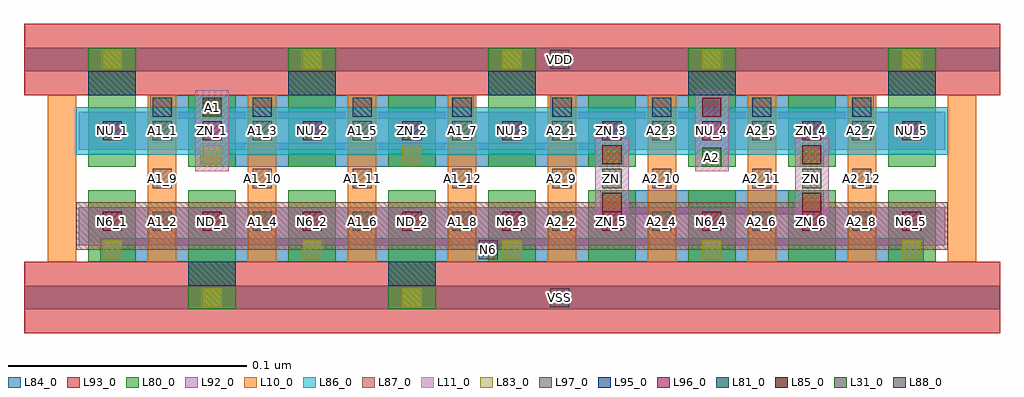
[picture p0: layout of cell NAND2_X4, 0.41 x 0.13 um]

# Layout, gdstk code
import gdstk
lib = gdstk.Library(unit=1e-6, precision=1e-09)
def R(c, l, rs):  # rectangles x0, y0, x1, y1
    for r in rs: c.add(gdstk.rectangle(r[:2], r[2:], *l))
def A(c, l, x, y, w, h, nx, ny, dx, dy):  # array of equal rectangles
    R(c, l, [(x+i*dx, y+j*dy, x+i*dx+w, y+j*dy+h) for i in range(nx) for j in range(ny)])
L10_0 = (10, 0)
L11_0 = (11, 0)
L31_0 = (31, 0)
L80_0 = (80, 0)
L81_0 = (81, 0)
L83_0 = (83, 0)
L84_0 = (84, 0)
L85_0 = (85, 0)
L86_0 = (86, 0)
L87_0 = (87, 0)
L88_0 = (88, 0)
L92_0 = (92, 0)
L93_0 = (93, 0)
L95_0 = (95, 0)
L96_0 = (96, 0)
L97_0 = (97, 0)

nand2_x4 = lib.new_cell('NAND2_X4')
A(nand2_x4, L10_0, -0.027, 0.015, 0.012, 0.07, 10, 1, 0.042, 0)
R(nand2_x4, L11_0, [(0.203,0.033,0.217,0.067), (0.203,0.033,0.217,0.067), (0.287,0.033,0.301,0.067), (0.287,0.033,0.301,0.067), (0.035,0.053,0.049,0.087), (0.245,0.053,0.259,0.087)])
R(nand2_x4, L31_0, [(0.206,0.046,0.214,0.054), (0.29,0.046,0.298,0.054), (0.248,0.055,0.256,0.063), (0.038,0.076,0.046,0.084)])
A(nand2_x4, L80_0, -0.01, 0.015, 0.02, 0.03, 9, 2, 0.042, 0.04)
A(nand2_x4, L80_0, -0.01, 0.075, 0.02, 0.03, 5, 1, 0.084, 0)
R(nand2_x4, L80_0, [(0.032,-0.005,0.052,0.025), (0.116,-0.005,0.136,0.025)])
R(nand2_x4, L81_0, [(0.017,0.076,0.025,0.084), (0.017,0.076,0.025,0.084), (0.059,0.076,0.067,0.084), (0.059,0.076,0.067,0.084), (0.101,0.076,0.109,0.084), (0.101,0.076,0.109,0.084), (0.143,0.076,0.151,0.084), (0.143,0.076,0.151,0.084), (0.185,0.076,0.193,0.084), (0.185,0.076,0.193,0.084), (0.227,0.076,0.235,0.084), (0.227,0.076,0.235,0.084), (0.269,0.076,0.277,0.084), (0.269,0.076,0.277,0.084), (0.311,0.076,0.319,0.084), (0.311,0.076,0.319,0.084)])
A(nand2_x4, L83_0, -0.004, 0.096, 0.008, 0.008, 5, 1, 0.084, 0)
R(nand2_x4, L83_0, [(0.038,-0.004,0.046,0.004), (0.122,-0.004,0.13,0.004), (-0.004,0.016,0.004,0.024), (-0.004,0.016,0.004,0.024), (0.08,0.016,0.088,0.024), (0.08,0.016,0.088,0.024), (0.164,0.016,0.172,0.024), (0.164,0.016,0.172,0.024), (0.248,0.016,0.256,0.024), (0.248,0.016,0.256,0.024), (0.332,0.016,0.34,0.024), (0.332,0.016,0.34,0.024), (0.206,0.036,0.214,0.044), (0.206,0.036,0.214,0.044), (0.29,0.036,0.298,0.044), (0.29,0.036,0.298,0.044), (0.038,0.056,0.046,0.064), (0.038,0.056,0.046,0.064), (0.122,0.056,0.13,0.064), (0.122,0.056,0.13,0.064), (0.206,0.056,0.214,0.064), (0.206,0.056,0.214,0.064), (0.29,0.056,0.298,0.064), (0.29,0.056,0.298,0.064)])
R(nand2_x4, L84_0, [(-0.037,-0.005,0.373,0.005), (-0.005,0.015,0.026,0.025), (-0.005,0.015,0.026,0.025), (0.016,0.015,0.047,0.025), (0.016,0.015,0.047,0.025), (0.037,0.015,0.068,0.025), (0.037,0.015,0.068,0.025), (0.058,0.015,0.089,0.025), (0.058,0.015,0.089,0.025), (0.079,0.015,0.11,0.025), (0.079,0.015,0.11,0.025), (0.1,0.015,0.131,0.025), (0.1,0.015,0.131,0.025), (0.121,0.015,0.152,0.025), (0.121,0.015,0.152,0.025), (0.142,0.015,0.173,0.025), (0.142,0.015,0.173,0.025), (0.163,0.015,0.194,0.025), (0.163,0.015,0.194,0.025), (0.184,0.015,0.215,0.025), (0.184,0.015,0.215,0.025), (0.205,0.015,0.236,0.025), (0.205,0.015,0.236,0.025), (0.226,0.015,0.257,0.025), (0.226,0.015,0.257,0.025), (0.247,0.015,0.278,0.025), (0.247,0.015,0.278,0.025), (0.268,0.015,0.299,0.025), (0.268,0.015,0.299,0.025), (0.289,0.015,0.32,0.025), (0.289,0.015,0.32,0.025), (0.31,0.015,0.341,0.025), (0.31,0.015,0.341,0.025), (0.205,0.035,0.236,0.045), (0.205,0.035,0.236,0.045), (0.226,0.035,0.257,0.045), (0.226,0.035,0.257,0.045), (0.247,0.035,0.278,0.045), (0.247,0.035,0.278,0.045), (0.268,0.035,0.299,0.045), (0.268,0.035,0.299,0.045), (0.037,0.055,0.068,0.065), (0.037,0.055,0.068,0.065), (0.058,0.055,0.089,0.065), (0.058,0.055,0.089,0.065), (0.079,0.055,0.11,0.065), (0.079,0.055,0.11,0.065), (0.1,0.055,0.131,0.065), (0.1,0.055,0.131,0.065), (0.121,0.055,0.152,0.065), (0.121,0.055,0.152,0.065), (0.142,0.055,0.173,0.065), (0.142,0.055,0.173,0.065), (0.163,0.055,0.194,0.065), (0.163,0.055,0.194,0.065), (0.184,0.055,0.215,0.065), (0.184,0.055,0.215,0.065), (0.289,0.055,0.299,0.065), (0.289,0.055,0.299,0.065), (0.016,0.075,0.047,0.085), (0.016,0.075,0.047,0.085), (0.037,0.075,0.068,0.085), (0.037,0.075,0.068,0.085), (0.058,0.075,0.089,0.085), (0.058,0.075,0.089,0.085), (0.079,0.075,0.11,0.085), (0.079,0.075,0.11,0.085), (0.1,0.075,0.131,0.085), (0.1,0.075,0.131,0.085), (0.121,0.075,0.152,0.085), (0.121,0.075,0.152,0.085), (0.184,0.075,0.215,0.085), (0.184,0.075,0.215,0.085), (0.205,0.075,0.236,0.085), (0.205,0.075,0.236,0.085), (0.226,0.075,0.257,0.085), (0.226,0.075,0.257,0.085), (0.247,0.075,0.278,0.085), (0.247,0.075,0.278,0.085), (0.268,0.075,0.299,0.085), (0.268,0.075,0.299,0.085), (0.289,0.075,0.32,0.085), (0.289,0.075,0.32,0.085), (-0.037,0.095,0.373,0.105)])
R(nand2_x4, L85_0, [(0.206,0.036,0.214,0.044), (0.206,0.036,0.214,0.044), (0.29,0.036,0.298,0.044), (0.29,0.036,0.298,0.044), (0.206,0.056,0.214,0.064), (0.206,0.056,0.214,0.064), (0.29,0.056,0.298,0.064), (0.29,0.056,0.298,0.064), (0.038,0.076,0.046,0.084), (0.248,0.076,0.256,0.084)])
R(nand2_x4, L86_0, [(-0.015,0.06,0.351,0.08)])
R(nand2_x4, L87_0, [(-0.015,0.02,0.351,0.04)])
R(nand2_x4, L88_0, [(0.184,-0.004,0.192,0.004), (0.154,0.016,0.162,0.024), (0.184,0.096,0.192,0.104)])
R(nand2_x4, L92_0, [(-0.014,0.022,0.35,0.038), (-0.014,0.062,0.35,0.078)])
R(nand2_x4, L93_0, [(-0.037,-0.015,0.373,0.015), (-0.037,0.085,0.373,0.115)])
A(nand2_x4, L95_0, -0.01, 0.085, 0.02, 0.01, 5, 1, 0.084, 0)
R(nand2_x4, L95_0, [(0.032,0.005,0.052,0.015), (0.116,0.005,0.136,0.015)])
A(nand2_x4, L96_0, -0.004, 0.028, 0.008, 0.008, 9, 2, 0.042, 0.038)
A(nand2_x4, L97_0, 0.017, 0.028, 0.008, 0.008, 8, 2, 0.042, 0.018)
A(nand2_x4, L97_0, 0.017, 0.066, 0.008, 0.008, 8, 1, 0.042, 0)
nand2_x4.add(gdstk.Label('A1_2', (0.021,0.032), layer=97, texttype=0))
nand2_x4.add(gdstk.Label('A1_9', (0.021,0.05), layer=97, texttype=0))
nand2_x4.add(gdstk.Label('A1_1', (0.021,0.07), layer=97, texttype=0))
nand2_x4.add(gdstk.Label('A1_4', (0.063,0.032), layer=97, texttype=0))
nand2_x4.add(gdstk.Label('A1_10', (0.063,0.05), layer=97, texttype=0))
nand2_x4.add(gdstk.Label('A1_3', (0.063,0.07), layer=97, texttype=0))
nand2_x4.add(gdstk.Label('A1_5', (0.105,0.07), layer=97, texttype=0))
nand2_x4.add(gdstk.Label('A1_11', (0.105,0.05), layer=97, texttype=0))
nand2_x4.add(gdstk.Label('A1_6', (0.105,0.032), layer=97, texttype=0))
nand2_x4.add(gdstk.Label('A1_7', (0.147,0.07), layer=97, texttype=0))
nand2_x4.add(gdstk.Label('A1_12', (0.147,0.05), layer=97, texttype=0))
nand2_x4.add(gdstk.Label('A1_8', (0.147,0.032), layer=97, texttype=0))
nand2_x4.add(gdstk.Label('A2_8', (0.315,0.032), layer=97, texttype=0))
nand2_x4.add(gdstk.Label('A2_12', (0.315,0.05), layer=97, texttype=0))
nand2_x4.add(gdstk.Label('A2_7', (0.315,0.07), layer=97, texttype=0))
nand2_x4.add(gdstk.Label('A2_6', (0.273,0.032), layer=97, texttype=0))
nand2_x4.add(gdstk.Label('A2_11', (0.273,0.05), layer=97, texttype=0))
nand2_x4.add(gdstk.Label('A2_5', (0.273,0.07), layer=97, texttype=0))
nand2_x4.add(gdstk.Label('A2_3', (0.231,0.07), layer=97, texttype=0))
nand2_x4.add(gdstk.Label('A2_10', (0.231,0.05), layer=97, texttype=0))
nand2_x4.add(gdstk.Label('A2_4', (0.231,0.032), layer=97, texttype=0))
nand2_x4.add(gdstk.Label('A2_2', (0.189,0.032), layer=97, texttype=0))
nand2_x4.add(gdstk.Label('A2_9', (0.189,0.05), layer=97, texttype=0))
nand2_x4.add(gdstk.Label('A2_1', (0.189,0.07), layer=97, texttype=0))
nand2_x4.add(gdstk.Label('ZN_1', (0.042,0.07), layer=96, texttype=0))
nand2_x4.add(gdstk.Label('ND_1', (0.042,0.032), layer=96, texttype=0))
nand2_x4.add(gdstk.Label('N6_1', (0,0.032), layer=96, texttype=0))
nand2_x4.add(gdstk.Label('NU_1', (0,0.07), layer=96, texttype=0))
nand2_x4.add(gdstk.Label('ZN_2', (0.126,0.07), layer=96, texttype=0))
nand2_x4.add(gdstk.Label('ND_2', (0.126,0.032), layer=96, texttype=0))
nand2_x4.add(gdstk.Label('N6_2', (0.084,0.032), layer=96, texttype=0))
nand2_x4.add(gdstk.Label('NU_2', (0.084,0.07), layer=96, texttype=0))
nand2_x4.add(gdstk.Label('NU_3', (0.168,0.07), layer=96, texttype=0))
nand2_x4.add(gdstk.Label('N6_3', (0.168,0.032), layer=96, texttype=0))
nand2_x4.add(gdstk.Label('ZN_5', (0.21,0.032), layer=96, texttype=0))
nand2_x4.add(gdstk.Label('ZN_3', (0.21,0.07), layer=96, texttype=0))
nand2_x4.add(gdstk.Label('ZN_6', (0.294,0.032), layer=96, texttype=0))
nand2_x4.add(gdstk.Label('N6_5', (0.336,0.032), layer=96, texttype=0))
nand2_x4.add(gdstk.Label('NU_5', (0.336,0.07), layer=96, texttype=0))
nand2_x4.add(gdstk.Label('ZN_4', (0.294,0.07), layer=96, texttype=0))
nand2_x4.add(gdstk.Label('N6_4', (0.252,0.032), layer=96, texttype=0))
nand2_x4.add(gdstk.Label('NU_4', (0.252,0.07), layer=96, texttype=0))
nand2_x4.add(gdstk.Label('VSS', (0.188,0), layer=88, texttype=0))
nand2_x4.add(gdstk.Label('VDD', (0.188,0.1), layer=88, texttype=0))
nand2_x4.add(gdstk.Label('N6', (0.158,0.02), layer=88, texttype=0))
nand2_x4.add(gdstk.Label('A1', (0.042,0.08), layer=31, texttype=0))
nand2_x4.add(gdstk.Label('A2', (0.252,0.059), layer=31, texttype=0))
nand2_x4.add(gdstk.Label('ZN', (0.294,0.05), layer=31, texttype=0))
nand2_x4.add(gdstk.Label('ZN', (0.21,0.05), layer=31, texttype=0))

lib.write_gds('NAND2_X4.gds')
